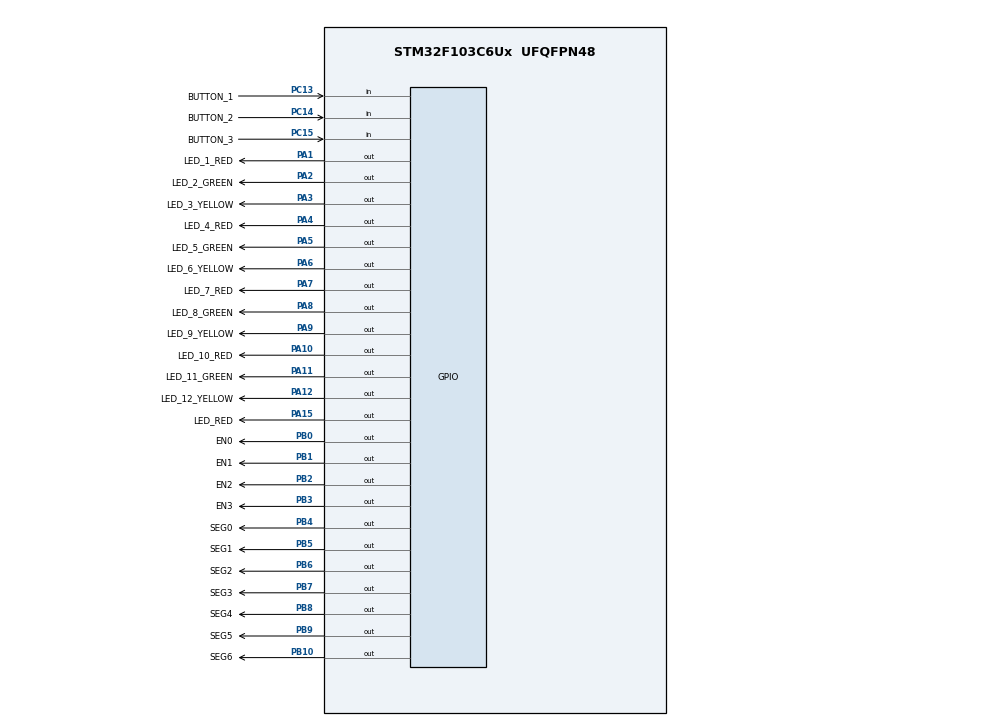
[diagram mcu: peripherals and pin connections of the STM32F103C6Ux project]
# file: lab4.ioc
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Mcu.Family=STM32F1
Mcu.Name=STM32F103C6Ux
Mcu.Package=UFQFPN48
NVIC.PriorityGroup=NVIC_PRIORITYGROUP_4
NVIC.TIM2_IRQn=true\:0\:0\:false\:false\:true\:true\:true
PA1.GPIO_Label=LED_1_RED
PA1.Signal=GPIO_Output
PA10.GPIO_Label=LED_10_RED
PA10.Signal=GPIO_Output
PA11.GPIO_Label=LED_11_GREEN
PA11.Signal=GPIO_Output
PA12.GPIO_Label=LED_12_YELLOW
PA12.Signal=GPIO_Output
PA13.Mode=Serial_Wire
PA13.Signal=SYS_JTMS-SWDIO
PA14.Mode=Serial_Wire
PA14.Signal=SYS_JTCK-SWCLK
PA15.GPIO_Label=LED_RED
PA15.Signal=GPIO_Output
PA2.GPIO_Label=LED_2_GREEN
PA2.Signal=GPIO_Output
PA3.GPIO_Label=LED_3_YELLOW
PA3.Signal=GPIO_Output
PA4.GPIO_Label=LED_4_RED
PA4.Signal=GPIO_Output
PA5.GPIO_Label=LED_5_GREEN
PA5.Signal=GPIO_Output
PA6.GPIO_Label=LED_6_YELLOW
PA6.Signal=GPIO_Output
PA7.GPIO_Label=LED_7_RED
PA7.Signal=GPIO_Output
PA8.GPIO_Label=LED_8_GREEN
PA8.Signal=GPIO_Output
PA9.GPIO_Label=LED_9_YELLOW
PA9.Signal=GPIO_Output
PB0.GPIO_Label=EN0
PB0.Signal=GPIO_Output
PB1.GPIO_Label=EN1
PB1.Signal=GPIO_Output
PB10.GPIO_Label=SEG6
PB10.Signal=GPIO_Output
PB2.GPIO_Label=EN2
PB2.Signal=GPIO_Output
PB3.GPIO_Label=EN3
PB3.Signal=GPIO_Output
PB4.GPIO_Label=SEG0
PB4.Signal=GPIO_Output
PB5.GPIO_Label=SEG1
PB5.Signal=GPIO_Output
PB6.GPIO_Label=SEG2
PB6.Signal=GPIO_Output
PB7.GPIO_Label=SEG3
PB7.Signal=GPIO_Output
PB8.GPIO_Label=SEG4
PB8.Signal=GPIO_Output
PB9.GPIO_Label=SEG5
PB9.Signal=GPIO_Output
PC13-TAMPER-RTC.GPIO_Label=BUTTON_1
PC13-TAMPER-RTC.GPIO_PuPd=GPIO_PULLUP
PC13-TAMPER-RTC.Signal=GPIO_Input
PC14-OSC32_IN.GPIO_Label=BUTTON_2
PC14-OSC32_IN.GPIO_PuPd=GPIO_PULLUP
PC14-OSC32_IN.Signal=GPIO_Input
PC15-OSC32_OUT.GPIO_Label=BUTTON_3
PC15-OSC32_OUT.GPIO_PuPd=GPIO_PULLUP
PC15-OSC32_OUT.Signal=GPIO_Input
ProjectManager.HeapSize=0x200
ProjectManager.StackSize=0x400
ProjectManager.TargetToolchain=STM32CubeIDE
RCC.APB1Freq_Value=8000000
RCC.APB2Freq_Value=8000000
TIM2.Period=9
TIM2.Prescaler=7999
VP_TIM2_VS_ClockSourceINT.Mode=Internal
board=custom

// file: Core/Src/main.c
/* USER CODE BEGIN Header */
/**
  ******************************************************************************
  * @file           : main.c
  * @brief          : Main program body
  ******************************************************************************
  * @attention
  *
  * <h2><center>&copy; Copyright (c) 2024 STMicroelectronics.
  * All rights reserved.</center></h2>
  *
  * This software component is licensed by ST under BSD 3-Clause license,
  * the "License"; You may not use this file except in compliance with the
  * License. You may obtain a copy of the License at:
  *                        opensource.org/licenses/BSD-3-Clause
  *
  ******************************************************************************
  */
/* USER CODE END Header */
#include "main.h"

/* USER CODE BEGIN Includes */
#include "global.h"
#include "scheduler.h"
/* USER CODE END Includes */

TIM_HandleTypeDef htim2;

void SystemClock_Config(void);
static void MX_GPIO_Init(void);
static void MX_TIM2_Init(void);

/* USER CODE BEGIN 0 */
void Toggle_LED_RED() {
	HAL_GPIO_TogglePin(LED_RED_GPIO_Port, LED_RED_Pin);
}
/* USER CODE END 0 */

int main(void)
{

  /* MCU Configuration--------------------------------------------------------*/

  /* Reset of all peripherals, Initializes the Flash interface and the Systick. */
  HAL_Init();

  /* Configure the system clock */
  SystemClock_Config();

  /* Initialize all configured peripherals */
  MX_GPIO_Init();
  MX_TIM2_Init();
  /* USER CODE BEGIN 2 */
  HAL_TIM_Base_Start_IT(&htim2);
  /* USER CODE END 2 */

  /* Infinite loop */
  /* USER CODE BEGIN WHILE */
  SCH_Init();
  SCH_ADD_TASK(Toggle_LED_RED, 0, 100);
  SCH_ADD_TASK(fsm_automatic, 0, 100);
  SCH_ADD_TASK(led7_segment, 1, 25);
  SCH_ADD_TASK(traffic_light_modify, 0, 25);
  SCH_ADD_TASK(fsm_manual, 0, 25);
  SCH_ADD_TASK(fsm_setting, 0, 25);
  while (1)
  {
    /* USER CODE END WHILE */
	  SCH_Dispatch_Tasks();
  }
}

void SystemClock_Config(void)
{
  RCC_OscInitTypeDef RCC_OscInitStruct = {0};
  RCC_ClkInitTypeDef RCC_ClkInitStruct = {0};

  /** Initializes the RCC Oscillators according to the specified parameters
  * in the RCC_OscInitTypeDef structure.
  */
  RCC_OscInitStruct.OscillatorType = RCC_OSCILLATORTYPE_HSI;
  RCC_OscInitStruct.HSIState = RCC_HSI_ON;
  RCC_OscInitStruct.HSICalibrationValue = RCC_HSICALIBRATION_DEFAULT;
  RCC_OscInitStruct.PLL.PLLState = RCC_PLL_NONE;
  if (HAL_RCC_OscConfig(&RCC_OscInitStruct) != HAL_OK)
  {
    Error_Handler();
  }
  /** Initializes the CPU, AHB and APB buses clocks
  */
  RCC_ClkInitStruct.ClockType = RCC_CLOCKTYPE_HCLK|RCC_CLOCKTYPE_SYSCLK
                              |RCC_CLOCKTYPE_PCLK1|RCC_CLOCKTYPE_PCLK2;
  RCC_ClkInitStruct.SYSCLKSource = RCC_SYSCLKSOURCE_HSI;
  RCC_ClkInitStruct.AHBCLKDivider = RCC_SYSCLK_DIV1;
  RCC_ClkInitStruct.APB1CLKDivider = RCC_HCLK_DIV1;
  RCC_ClkInitStruct.APB2CLKDivider = RCC_HCLK_DIV1;

  if (HAL_RCC_ClockConfig(&RCC_ClkInitStruct, FLASH_LATENCY_0) != HAL_OK)
  {
    Error_Handler();
  }
}

static void MX_TIM2_Init(void)
{

  TIM_ClockConfigTypeDef sClockSourceConfig = {0};
  TIM_MasterConfigTypeDef sMasterConfig = {0};

  htim2.Instance = TIM2;
  htim2.Init.Prescaler = 7999;
  htim2.Init.CounterMode = TIM_COUNTERMODE_UP;
  htim2.Init.Period = 9;
  htim2.Init.ClockDivision = TIM_CLOCKDIVISION_DIV1;
  htim2.Init.AutoReloadPreload = TIM_AUTORELOAD_PRELOAD_DISABLE;
  if (HAL_TIM_Base_Init(&htim2) != HAL_OK)
  {
    Error_Handler();
  }
  sClockSourceConfig.ClockSource = TIM_CLOCKSOURCE_INTERNAL;
  if (HAL_TIM_ConfigClockSource(&htim2, &sClockSourceConfig) != HAL_OK)
  {
    Error_Handler();
  }
  sMasterConfig.MasterOutputTrigger = TIM_TRGO_RESET;
  sMasterConfig.MasterSlaveMode = TIM_MASTERSLAVEMODE_DISABLE;
  if (HAL_TIMEx_MasterConfigSynchronization(&htim2, &sMasterConfig) != HAL_OK)
  {
    Error_Handler();
  }

}

static void MX_GPIO_Init(void)
{
  GPIO_InitTypeDef GPIO_InitStruct = {0};

  /* GPIO Ports Clock Enable */
  __HAL_RCC_GPIOC_CLK_ENABLE();
  __HAL_RCC_GPIOA_CLK_ENABLE();
  __HAL_RCC_GPIOB_CLK_ENABLE();

  /*Configure GPIO pin Output Level */
  HAL_GPIO_WritePin(GPIOA, LED_1_RED_Pin|LED_2_GREEN_Pin|LED_3_YELLOW_Pin|LED_4_RED_Pin
                          |LED_5_GREEN_Pin|LED_6_YELLOW_Pin|LED_7_RED_Pin|LED_8_GREEN_Pin
                          |LED_9_YELLOW_Pin|LED_10_RED_Pin|LED_11_GREEN_Pin|LED_12_YELLOW_Pin
                          |LED_RED_Pin, GPIO_PIN_RESET);

  /*Configure GPIO pin Output Level */
  HAL_GPIO_WritePin(GPIOB, EN0_Pin|EN1_Pin|EN2_Pin|SEG6_Pin
                          |EN3_Pin|SEG0_Pin|SEG1_Pin|SEG2_Pin
                          |SEG3_Pin|SEG4_Pin|SEG5_Pin, GPIO_PIN_RESET);

  /*Configure GPIO pins : BUTTON_1_Pin BUTTON_2_Pin BUTTON_3_Pin */
  GPIO_InitStruct.Pin = BUTTON_1_Pin|BUTTON_2_Pin|BUTTON_3_Pin;
  GPIO_InitStruct.Mode = GPIO_MODE_INPUT;
  GPIO_InitStruct.Pull = GPIO_PULLUP;
  HAL_GPIO_Init(GPIOC, &GPIO_InitStruct);

  /*Configure GPIO pins : LED_1_RED_Pin LED_2_GREEN_Pin LED_3_YELLOW_Pin LED_4_RED_Pin
                           LED_5_GREEN_Pin LED_6_YELLOW_Pin LED_7_RED_Pin LED_8_GREEN_Pin
                           LED_9_YELLOW_Pin LED_10_RED_Pin LED_11_GREEN_Pin LED_12_YELLOW_Pin
                           LED_RED_Pin */
  GPIO_InitStruct.Pin = LED_1_RED_Pin|LED_2_GREEN_Pin|LED_3_YELLOW_Pin|LED_4_RED_Pin
                          |LED_5_GREEN_Pin|LED_6_YELLOW_Pin|LED_7_RED_Pin|LED_8_GREEN_Pin
                          |LED_9_YELLOW_Pin|LED_10_RED_Pin|LED_11_GREEN_Pin|LED_12_YELLOW_Pin
                          |LED_RED_Pin;
  GPIO_InitStruct.Mode = GPIO_MODE_OUTPUT_PP;
  GPIO_InitStruct.Pull = GPIO_NOPULL;
  GPIO_InitStruct.Speed = GPIO_SPEED_FREQ_LOW;
  HAL_GPIO_Init(GPIOA, &GPIO_InitStruct);

  /*Configure GPIO pins : EN0_Pin EN1_Pin EN2_Pin SEG6_Pin
                           EN3_Pin SEG0_Pin SEG1_Pin SEG2_Pin
                           SEG3_Pin SEG4_Pin SEG5_Pin */
  GPIO_InitStruct.Pin = EN0_Pin|EN1_Pin|EN2_Pin|SEG6_Pin
                          |EN3_Pin|SEG0_Pin|SEG1_Pin|SEG2_Pin
                          |SEG3_Pin|SEG4_Pin|SEG5_Pin;
  GPIO_InitStruct.Mode = GPIO_MODE_OUTPUT_PP;
  GPIO_InitStruct.Pull = GPIO_NOPULL;
  GPIO_InitStruct.Speed = GPIO_SPEED_FREQ_LOW;
  HAL_GPIO_Init(GPIOB, &GPIO_InitStruct);

}

/* USER CODE BEGIN 4 */
void HAL_TIM_PeriodElapsedCallback(TIM_HandleTypeDef *htim) {
	SCH_Update();
	getKeyInput();
}
/* USER CODE END 4 */

void Error_Handler(void)
{
  __disable_irq();
  while (1)
  {
  }
}

/************************ (C) COPYRIGHT STMicroelectronics *****END OF FILE****/
